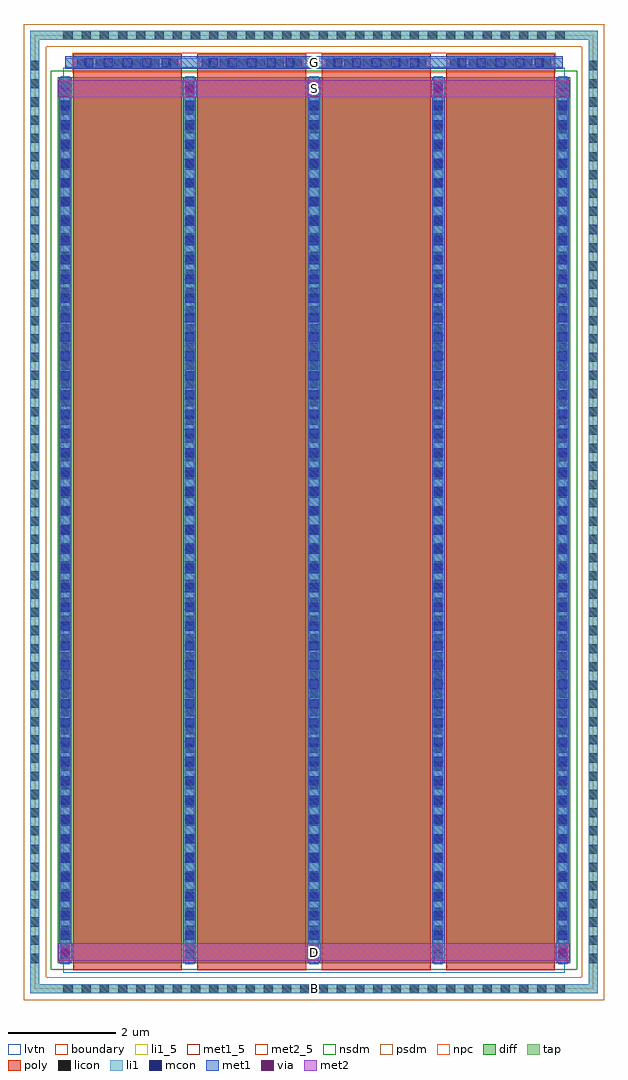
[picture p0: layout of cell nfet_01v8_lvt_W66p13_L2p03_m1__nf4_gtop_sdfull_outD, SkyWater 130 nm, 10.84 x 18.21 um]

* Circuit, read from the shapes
.subckt nfet_01v8_lvt_W66p13_L2p03_m1__nf4_gtop_sdfull_outD B D G S
XM1 S G D B sky130_fd_pr__nfet_01v8_lvt w=16.53 l=2.03 m=4
.ends

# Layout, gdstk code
import gdstk
lib = gdstk.Library(unit=1e-6, precision=1e-09)
def R(c, l, rs):  # rectangles x0, y0, x1, y1
    for r in rs: c.add(gdstk.rectangle(r[:2], r[2:], *l))
def A(c, l, x, y, w, h, nx, ny, dx, dy):  # array of equal rectangles
    R(c, l, [(x+i*dx, y+j*dy, x+i*dx+w, y+j*dy+h) for i in range(nx) for j in range(ny)])
diff = (65, 20)
tap = (65, 44)
poly = (66, 20)
licon = (66, 44)
li1_5 = (67, 5)
li1 = (67, 20)
mcon = (67, 44)
met1_5 = (68, 5)
met1 = (68, 20)
via = (68, 44)
met2_5 = (69, 5)
met2 = (69, 20)
nsdm = (93, 44)
psdm = (94, 20)
npc = (95, 20)
lvtn = (125, 44)
boundary = (235, 4)

sky130_fd_pr__nfet_01v8_ = lib.new_cell('sky130_fd_pr__nfet_01v8_lvt_XV84G2')
R(sky130_fd_pr__nfet_01v8_, diff, [(-4.785,-8.42,4.785,8.11)])
R(sky130_fd_pr__nfet_01v8_, tap, [(-5.295,-8.98,5.295,-8.81), (-5.295,-8.81,-5.125,8.81), (5.125,-8.81,5.295,8.81), (-5.295,8.81,5.295,8.98)])
A(sky130_fd_pr__nfet_01v8_, poly, -4.495, -8.55, 2.03, 17.1, 4, 1, 2.32, 0)
A(sky130_fd_pr__nfet_01v8_, licon, -4.675, -8.98, 0.17, 0.17, 28, 2, 0.34, 17.79)
A(sky130_fd_pr__nfet_01v8_, licon, -5.295, -8.415, 0.17, 0.17, 1, 50, 0, 0.34)
A(sky130_fd_pr__nfet_01v8_, licon, 5.125, -8.415, 0.17, 0.17, 1, 50, 0, 0.34)
A(sky130_fd_pr__nfet_01v8_, licon, -4.725, -8.23, 0.17, 0.17, 5, 48, 2.32, 0.34)
A(sky130_fd_pr__nfet_01v8_, licon, -4.415, 8.3, 0.17, 0.17, 6, 1, 0.34, 0)
A(sky130_fd_pr__nfet_01v8_, licon, -2.095, 8.3, 0.17, 0.17, 6, 1, 0.34, 0)
A(sky130_fd_pr__nfet_01v8_, licon, 0.225, 8.3, 0.17, 0.17, 6, 1, 0.34, 0)
A(sky130_fd_pr__nfet_01v8_, licon, 2.545, 8.3, 0.17, 0.17, 6, 1, 0.34, 0)
A(sky130_fd_pr__nfet_01v8_, li1, -4.725, -8.44, 0.17, 16.57, 5, 1, 2.32, 0)
R(sky130_fd_pr__nfet_01v8_, li1, [(-5.295,-8.98,5.295,-8.81), (-5.295,-8.81,-5.125,8.81), (5.125,-8.81,5.295,8.81), (-4.64,8.3,4.64,8.47), (-5.295,8.81,5.295,8.98)])
A(sky130_fd_pr__nfet_01v8_, mcon, -4.725, -8.34, 0.17, 0.17, 5, 46, 2.32, 0.36)
A(sky130_fd_pr__nfet_01v8_, mcon, -4.285, 8.3, 0.17, 0.17, 5, 1, 0.36, 0)
A(sky130_fd_pr__nfet_01v8_, mcon, -1.965, 8.3, 0.17, 0.17, 5, 1, 0.36, 0)
A(sky130_fd_pr__nfet_01v8_, mcon, 0.355, 8.3, 0.17, 0.17, 5, 1, 0.36, 0)
A(sky130_fd_pr__nfet_01v8_, mcon, 2.675, 8.3, 0.17, 0.17, 5, 1, 0.36, 0)
A(sky130_fd_pr__nfet_01v8_, met1, -4.755, -8.42, 0.23, 16.53, 5, 1, 2.32, 0)
A(sky130_fd_pr__nfet_01v8_, met1, -4.475, 8.27, 1.99, 0.03, 4, 2, 2.32, 0.2)
R(sky130_fd_pr__nfet_01v8_, met1, [(-4.64,8.3,4.64,8.47)])
R(sky130_fd_pr__nfet_01v8_, nsdm, [(-4.91,-8.545,4.91,8.235)])
R(sky130_fd_pr__nfet_01v8_, psdm, [(-5.42,-9.105,5.42,-8.685), (-5.42,-8.685,-5,8.685), (5,-8.685,5.42,8.685), (-5.42,8.685,5.42,9.105)])
R(sky130_fd_pr__nfet_01v8_, npc, [(-4.515,8.2,4.515,8.57)])
R(sky130_fd_pr__nfet_01v8_, lvtn, [(-4.675,-8.6,4.675,8.29)])
R(sky130_fd_pr__nfet_01v8_, boundary, [(-5.21,-8.895,5.21,8.895)])
sky130_fd_pr__nfet_01v8_.add(gdstk.Label('B', (0,-8.895), layer=67, texttype=5))
sky130_fd_pr__nfet_01v8_.add(gdstk.Label('D0', (-4.64,-0.155), layer=67, texttype=5))
sky130_fd_pr__nfet_01v8_.add(gdstk.Label('G', (3.48,8.385), layer=67, texttype=5))
sky130_fd_pr__nfet_01v8_.add(gdstk.Label('G', (1.16,8.385), layer=67, texttype=5))
sky130_fd_pr__nfet_01v8_.add(gdstk.Label('G', (-1.16,8.385), layer=67, texttype=5))
sky130_fd_pr__nfet_01v8_.add(gdstk.Label('G', (-3.48,8.385), layer=67, texttype=5))
sky130_fd_pr__nfet_01v8_.add(gdstk.Label('S1', (-2.32,-0.155), layer=67, texttype=5))
sky130_fd_pr__nfet_01v8_.add(gdstk.Label('D2', (0,-0.155), layer=67, texttype=5))
sky130_fd_pr__nfet_01v8_.add(gdstk.Label('S3', (2.32,-0.155), layer=67, texttype=5))

nfet_01v8_lvt_w66p13_l2p = lib.new_cell('nfet_01v8_lvt_W66p13_L2p03_m1__nf4_gtop_sdfull_outD')
R(nfet_01v8_lvt_w66p13_l2p, li1_5, [(5.125,-0.085,5.295,0.085)])
R(nfet_01v8_lvt_w66p13_l2p, li1, [(5.125,-0.085,5.295,0.085)])
R(nfet_01v8_lvt_w66p13_l2p, met1_5, [(0.57,17.165,9.85,17.395)])
A(nfet_01v8_lvt_w66p13_l2p, met1, 0.44, 0.525, 0.26, 0.32, 3, 1, 4.64, 0)
R(nfet_01v8_lvt_w66p13_l2p, met1, [(2.76,16.635,3.02,16.955), (7.4,16.635,7.66,16.955), (0.57,17.165,9.85,17.395)])
A(nfet_01v8_lvt_w66p13_l2p, via, 0.495, 0.61, 0.15, 0.15, 3, 1, 4.64, 0)
R(nfet_01v8_lvt_w66p13_l2p, via, [(2.815,16.72,2.965,16.87), (7.455,16.72,7.605,16.87)])
R(nfet_01v8_lvt_w66p13_l2p, met2_5, [(0.435,0.525,9.985,0.845), (0.435,16.635,9.985,16.955)])
R(nfet_01v8_lvt_w66p13_l2p, met2, [(0.435,0.525,9.985,0.845), (0.435,16.635,9.985,16.955)])
nfet_01v8_lvt_w66p13_l2p.add(gdstk.Reference(sky130_fd_pr__nfet_01v8_, (5.21,8.895)))
nfet_01v8_lvt_w66p13_l2p.add(gdstk.Label('S', (5.21,16.795), layer=69, texttype=5))
nfet_01v8_lvt_w66p13_l2p.add(gdstk.Label('D', (5.21,0.685), layer=69, texttype=5))
nfet_01v8_lvt_w66p13_l2p.add(gdstk.Label('G', (5.21,17.28), layer=68, texttype=5))
nfet_01v8_lvt_w66p13_l2p.add(gdstk.Label('B', (5.21,0), layer=67, texttype=5))

lib.write_gds('nfet_01v8_lvt_W66p13_L2p03_m1__nf4_gtop_sdfull_outD.gds')
